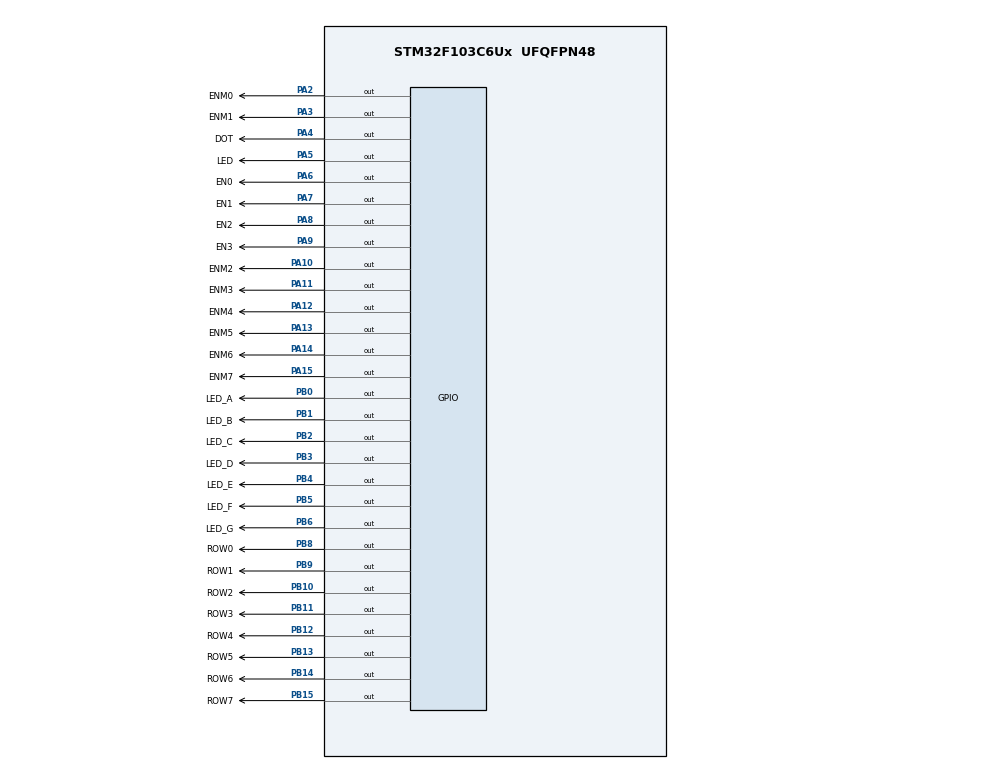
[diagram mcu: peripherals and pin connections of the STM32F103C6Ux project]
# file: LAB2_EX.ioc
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Mcu.Family=STM32F1
Mcu.Name=STM32F103C6Ux
Mcu.Package=UFQFPN48
NVIC.PriorityGroup=NVIC_PRIORITYGROUP_4
NVIC.TIM2_IRQn=true\:0\:0\:false\:false\:true\:true\:true
PA10.GPIO_Label=ENM2
PA10.Signal=GPIO_Output
PA11.GPIO_Label=ENM3
PA11.Signal=GPIO_Output
PA12.GPIO_Label=ENM4
PA12.Signal=GPIO_Output
PA13.GPIO_Label=ENM5
PA13.Signal=GPIO_Output
PA14.GPIO_Label=ENM6
PA14.Signal=GPIO_Output
PA15.GPIO_Label=ENM7
PA15.Signal=GPIO_Output
PA2.GPIO_Label=ENM0
PA2.Signal=GPIO_Output
PA3.GPIO_Label=ENM1
PA3.Signal=GPIO_Output
PA4.GPIO_Label=DOT
PA4.Signal=GPIO_Output
PA5.GPIO_Label=LED
PA5.Signal=GPIO_Output
PA6.GPIO_Label=EN0
PA6.Signal=GPIO_Output
PA7.GPIO_Label=EN1
PA7.Signal=GPIO_Output
PA8.GPIO_Label=EN2
PA8.Signal=GPIO_Output
PA9.GPIO_Label=EN3
PA9.Signal=GPIO_Output
PB0.GPIO_Label=LED_A
PB0.Signal=GPIO_Output
PB1.GPIO_Label=LED_B
PB1.Signal=GPIO_Output
PB10.GPIO_Label=ROW2
PB10.Signal=GPIO_Output
PB11.GPIO_Label=ROW3
PB11.Signal=GPIO_Output
PB12.GPIO_Label=ROW4
PB12.Signal=GPIO_Output
PB13.GPIO_Label=ROW5
PB13.Signal=GPIO_Output
PB14.GPIO_Label=ROW6
PB14.Signal=GPIO_Output
PB15.GPIO_Label=ROW7
PB15.Signal=GPIO_Output
PB2.GPIO_Label=LED_C
PB2.Signal=GPIO_Output
PB3.GPIO_Label=LED_D
PB3.Signal=GPIO_Output
PB4.GPIO_Label=LED_E
PB4.Signal=GPIO_Output
PB5.GPIO_Label=LED_F
PB5.Signal=GPIO_Output
PB6.GPIO_Label=LED_G
PB6.Signal=GPIO_Output
PB8.GPIO_Label=ROW0
PB8.Signal=GPIO_Output
PB9.GPIO_Label=ROW1
PB9.Signal=GPIO_Output
ProjectManager.HeapSize=0x200
ProjectManager.StackSize=0x400
ProjectManager.TargetToolchain=STM32CubeIDE
RCC.APB1Freq_Value=8000000
RCC.APB2Freq_Value=8000000
TIM2.Period=9
TIM2.Prescaler=7999
VP_SYS_VS_ND.Mode=No_Debug
VP_TIM2_VS_ClockSourceINT.Mode=Internal
board=custom

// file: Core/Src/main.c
/* USER CODE BEGIN Header */
/**
  ******************************************************************************
  * @file           : main.c
  * @brief          : Main program body
  ******************************************************************************
  * @attention
  *
  * <h2><center>&copy; Copyright (c) 2023 STMicroelectronics.
  * All rights reserved.</center></h2>
  *
  * This software component is licensed by ST under BSD 3-Clause license,
  * the "License"; You may not use this file except in compliance with the
  * License. You may obtain a copy of the License at:
  *                        opensource.org/licenses/BSD-3-Clause
  *
  ******************************************************************************
  */
/* USER CODE END Header */
#include "main.h"

/* USER CODE BEGIN Includes */
#include "software_timer.h"
/* USER CODE END Includes */

TIM_HandleTypeDef htim2;

void SystemClock_Config(void);
static void MX_GPIO_Init(void);
static void MX_TIM2_Init(void);

/* USER CODE BEGIN 0 */
void display7SEG(int num){
	switch(num){
	case 0:
		HAL_GPIO_WritePin(LED_A_GPIO_Port, LED_A_Pin, RESET);
		HAL_GPIO_WritePin(LED_B_GPIO_Port, LED_B_Pin, RESET);
		HAL_GPIO_WritePin(LED_C_GPIO_Port, LED_C_Pin, RESET);
		HAL_GPIO_WritePin(LED_D_GPIO_Port, LED_D_Pin, RESET);
		HAL_GPIO_WritePin(LED_E_GPIO_Port, LED_E_Pin, RESET);
		HAL_GPIO_WritePin(LED_F_GPIO_Port, LED_F_Pin, RESET);
		HAL_GPIO_WritePin(LED_G_GPIO_Port, LED_G_Pin, SET);
		break;
	case 1:
		HAL_GPIO_WritePin(LED_A_GPIO_Port, LED_A_Pin, SET);
		HAL_GPIO_WritePin(LED_B_GPIO_Port, LED_B_Pin, RESET);
		HAL_GPIO_WritePin(LED_C_GPIO_Port, LED_C_Pin, RESET);
		HAL_GPIO_WritePin(LED_D_GPIO_Port, LED_D_Pin, SET);
		HAL_GPIO_WritePin(LED_E_GPIO_Port, LED_E_Pin, SET);
		HAL_GPIO_WritePin(LED_F_GPIO_Port, LED_F_Pin, SET);
		HAL_GPIO_WritePin(LED_G_GPIO_Port, LED_G_Pin, SET);
		break;
	case 2:
		HAL_GPIO_WritePin(LED_A_GPIO_Port, LED_A_Pin, RESET);
		HAL_GPIO_WritePin(LED_B_GPIO_Port, LED_B_Pin, RESET);
		HAL_GPIO_WritePin(LED_C_GPIO_Port, LED_C_Pin, SET);
		HAL_GPIO_WritePin(LED_D_GPIO_Port, LED_D_Pin, RESET);
		HAL_GPIO_WritePin(LED_E_GPIO_Port, LED_E_Pin, RESET);
		HAL_GPIO_WritePin(LED_F_GPIO_Port, LED_F_Pin, SET);
		HAL_GPIO_WritePin(LED_G_GPIO_Port, LED_G_Pin, RESET);
		break;
	case 3:
		HAL_GPIO_WritePin(LED_A_GPIO_Port, LED_A_Pin, RESET);
		HAL_GPIO_WritePin(LED_B_GPIO_Port, LED_B_Pin, RESET);
		HAL_GPIO_WritePin(LED_C_GPIO_Port, LED_C_Pin, RESET);
		HAL_GPIO_WritePin(LED_D_GPIO_Port, LED_D_Pin, RESET);
		HAL_GPIO_WritePin(LED_E_GPIO_Port, LED_E_Pin, SET);
		HAL_GPIO_WritePin(LED_F_GPIO_Port, LED_F_Pin, SET);
		HAL_GPIO_WritePin(LED_G_GPIO_Port, LED_G_Pin, RESET);
		break;
	case 4:
		HAL_GPIO_WritePin(LED_A_GPIO_Port, LED_A_Pin, SET);
		HAL_GPIO_WritePin(LED_B_GPIO_Port, LED_B_Pin, RESET);
		HAL_GPIO_WritePin(LED_C_GPIO_Port, LED_C_Pin, RESET);
		HAL_GPIO_WritePin(LED_D_GPIO_Port, LED_D_Pin, SET);
		HAL_GPIO_WritePin(LED_E_GPIO_Port, LED_E_Pin, SET);
		HAL_GPIO_WritePin(LED_F_GPIO_Port, LED_F_Pin, RESET);
		HAL_GPIO_WritePin(LED_G_GPIO_Port, LED_G_Pin, RESET);
		break;
	case 5:
		HAL_GPIO_WritePin(LED_A_GPIO_Port, LED_A_Pin, RESET);
		HAL_GPIO_WritePin(LED_B_GPIO_Port, LED_B_Pin, SET);
		HAL_GPIO_WritePin(LED_C_GPIO_Port, LED_C_Pin, RESET);
		HAL_GPIO_WritePin(LED_D_GPIO_Port, LED_D_Pin, RESET);
		HAL_GPIO_WritePin(LED_E_GPIO_Port, LED_E_Pin, SET);
		HAL_GPIO_WritePin(LED_F_GPIO_Port, LED_F_Pin, RESET);
		HAL_GPIO_WritePin(LED_G_GPIO_Port, LED_G_Pin, RESET);
		break;
	case 6:
		HAL_GPIO_WritePin(LED_A_GPIO_Port, LED_A_Pin, RESET);
		HAL_GPIO_WritePin(LED_B_GPIO_Port, LED_B_Pin, SET);
		HAL_GPIO_WritePin(LED_C_GPIO_Port, LED_C_Pin, RESET);
		HAL_GPIO_WritePin(LED_D_GPIO_Port, LED_D_Pin, RESET);
		HAL_GPIO_WritePin(LED_E_GPIO_Port, LED_E_Pin, RESET);
		HAL_GPIO_WritePin(LED_F_GPIO_Port, LED_F_Pin, RESET);
		HAL_GPIO_WritePin(LED_G_GPIO_Port, LED_G_Pin, RESET);
		break;
	case 7:
		HAL_GPIO_WritePin(LED_A_GPIO_Port, LED_A_Pin, RESET);
		HAL_GPIO_WritePin(LED_B_GPIO_Port, LED_B_Pin, RESET);
		HAL_GPIO_WritePin(LED_C_GPIO_Port, LED_C_Pin, RESET);
		HAL_GPIO_WritePin(LED_D_GPIO_Port, LED_D_Pin, SET);
		HAL_GPIO_WritePin(LED_E_GPIO_Port, LED_E_Pin, SET);
		HAL_GPIO_WritePin(LED_F_GPIO_Port, LED_F_Pin, SET);
		HAL_GPIO_WritePin(LED_G_GPIO_Port, LED_G_Pin, SET);
		break;
	case 8:
		HAL_GPIO_WritePin(LED_A_GPIO_Port, LED_A_Pin, RESET);
		HAL_GPIO_WritePin(LED_B_GPIO_Port, LED_B_Pin, RESET);
		HAL_GPIO_WritePin(LED_C_GPIO_Port, LED_C_Pin, RESET);
		HAL_GPIO_WritePin(LED_D_GPIO_Port, LED_D_Pin, RESET);
		HAL_GPIO_WritePin(LED_E_GPIO_Port, LED_E_Pin, RESET);
		HAL_GPIO_WritePin(LED_F_GPIO_Port, LED_F_Pin, RESET);
		HAL_GPIO_WritePin(LED_G_GPIO_Port, LED_G_Pin, RESET);
		break;
	case 9:
		HAL_GPIO_WritePin(LED_A_GPIO_Port, LED_A_Pin, RESET);
		HAL_GPIO_WritePin(LED_B_GPIO_Port, LED_B_Pin, RESET);
		HAL_GPIO_WritePin(LED_C_GPIO_Port, LED_C_Pin, RESET);
		HAL_GPIO_WritePin(LED_D_GPIO_Port, LED_D_Pin, RESET);
		HAL_GPIO_WritePin(LED_E_GPIO_Port, LED_E_Pin, SET);
		HAL_GPIO_WritePin(LED_F_GPIO_Port, LED_F_Pin, RESET);
		HAL_GPIO_WritePin(LED_G_GPIO_Port, LED_G_Pin, RESET);
		break;
	default:
		break;
	}
}

const int MAX_LED = 4;
int index_led = 0;
int led_buffer[4] = {1, 2, 3, 4};
void update7SEG(int index){
	display7SEG(led_buffer[index]);
	switch(index){
	case 0:
		// Display the first 7 SEG with led_buffer [0]
		HAL_GPIO_WritePin(EN0_GPIO_Port, EN0_Pin, RESET);
		HAL_GPIO_WritePin(EN1_GPIO_Port, EN1_Pin, SET);
		HAL_GPIO_WritePin(EN2_GPIO_Port, EN2_Pin, SET);
		HAL_GPIO_WritePin(EN3_GPIO_Port, EN3_Pin, SET);
		break;
	case 1:
		// Display the first 7 SEG with led_buffer [1]
		HAL_GPIO_WritePin(EN0_GPIO_Port, EN0_Pin, SET);
		HAL_GPIO_WritePin(EN1_GPIO_Port, EN1_Pin, RESET);
		HAL_GPIO_WritePin(EN2_GPIO_Port, EN2_Pin, SET);
		HAL_GPIO_WritePin(EN3_GPIO_Port, EN3_Pin, SET);
		break;
	case 2:
		HAL_GPIO_WritePin(EN0_GPIO_Port, EN0_Pin, SET);
		HAL_GPIO_WritePin(EN1_GPIO_Port, EN1_Pin, SET);
		HAL_GPIO_WritePin(EN2_GPIO_Port, EN2_Pin, RESET);
		HAL_GPIO_WritePin(EN3_GPIO_Port, EN3_Pin, SET);
		break;
	case 3:
		HAL_GPIO_WritePin(EN0_GPIO_Port, EN0_Pin, SET);
		HAL_GPIO_WritePin(EN1_GPIO_Port, EN1_Pin, SET);
		HAL_GPIO_WritePin(EN2_GPIO_Port, EN2_Pin, SET);
		HAL_GPIO_WritePin(EN3_GPIO_Port, EN3_Pin, RESET);
		break;
	default: break;
	}
}
void updateClockBuffer(int hour, int minute){
	led_buffer[0] = hour / 10;
 	led_buffer[1] = hour % 10;
	led_buffer[2] = minute/10;
	led_buffer[3] = minute % 10;
}

const int MAX_LED_MATRIX = 8;
uint16_t ROW_PIN[8] =  {ROW0_Pin, ROW1_Pin, ROW2_Pin, ROW3_Pin,
						ROW4_Pin, ROW5_Pin, ROW6_Pin, ROW7_Pin};
int index_led_matrix = 0;
uint8_t matrix_buffer[8] = {0x07, 0xcb, 0xcd, 0xce, 0xce, 0xcd, 0xcb, 0x07};
					//0		1		1	  1	   	0	  0		1	  1		1
					//1		1		1	  0		1	  1		0	  1		1
					//2		1		0	  1		1	  1		1	  0		1
					//3		0		1	  1		1     1		1  	  1		0
					//4		0		0	  0		0	  0		0	  0		0
					//5		0		0	  0		0	  0		0	  0		0
					//6		0		1	  1		1	  1		1	  1		0
					//7		0		1  	  1		1     1		1	  1		0

void updateLEDMatrix(int index){
	HAL_GPIO_WritePin(ENM0_GPIO_Port, ENM0_Pin, SET);
	HAL_GPIO_WritePin(ENM1_GPIO_Port, ENM1_Pin, SET);
	HAL_GPIO_WritePin(ENM2_GPIO_Port, ENM2_Pin, SET);
	HAL_GPIO_WritePin(ENM3_GPIO_Port, ENM3_Pin, SET);
	HAL_GPIO_WritePin(ENM4_GPIO_Port, ENM4_Pin, SET);
	HAL_GPIO_WritePin(ENM5_GPIO_Port, ENM5_Pin, SET);
	HAL_GPIO_WritePin(ENM6_GPIO_Port, ENM6_Pin, SET);
	HAL_GPIO_WritePin(ENM7_GPIO_Port, ENM7_Pin, SET);
	switch(index){
	case 0:
		//turn on col 0
		HAL_GPIO_WritePin(ENM0_GPIO_Port, ENM0_Pin, RESET);
		break;
	case 1:
		//turn on col 1
		HAL_GPIO_WritePin(ENM1_GPIO_Port, ENM1_Pin, RESET);
		break;
	case 2:
		//turn on col 2
		HAL_GPIO_WritePin(ENM2_GPIO_Port, ENM2_Pin, RESET);
		break;
	case 3:
		//turn on col 3
		HAL_GPIO_WritePin(ENM3_GPIO_Port, ENM3_Pin, RESET);
		break;
	case 4:
		//turn on col 4
		HAL_GPIO_WritePin(ENM4_GPIO_Port, ENM4_Pin, RESET);
		break;
	case 5:
		//turn on col 5
		HAL_GPIO_WritePin(ENM5_GPIO_Port, ENM5_Pin, RESET);
		break;
	case 6:
		//turn on col 6
		HAL_GPIO_WritePin(ENM6_GPIO_Port, ENM6_Pin, RESET);
		break;
	case 7:
		//turn on col 7
		HAL_GPIO_WritePin(ENM7_GPIO_Port, ENM7_Pin, RESET);
		break;
	default: break;
	}
	uint8_t tem = matrix_buffer[index];
	for(uint8_t i = 0; i < MAX_LED_MATRIX; i++){
		if(tem % 2){// LSB of tem is 0
			HAL_GPIO_WritePin(GPIOB, ROW_PIN[i], SET);
		}else{		// LSB of tem is 1
			HAL_GPIO_WritePin(GPIOB, ROW_PIN[i], RESET);
		}
		tem >>= 1;
	}
}
/* USER CODE END 0 */

int main(void)
{

  /* MCU Configuration--------------------------------------------------------*/

  /* Reset of all peripherals, Initializes the Flash interface and the Systick. */
  HAL_Init();

  /* Configure the system clock */
  SystemClock_Config();

  /* Initialize all configured peripherals */
  MX_GPIO_Init();
  MX_TIM2_Init();
  /* USER CODE BEGIN 2 */
  HAL_TIM_Base_Start_IT(&htim2);
  /* USER CODE END 2 */

  /* Infinite loop */
  /* USER CODE BEGIN WHILE */
  int hour = 15, minute = 8, second = 50;
  setTimer1(3);
  setTimer2(2);
  setTimer3(5);
  while (1)
  {
	  if(timer1_flag == 1){
		  	setTimer1(100);
			second ++;
			if(second >= 60){
			  second = 0;
			  minute ++;
			}
			if(minute >= 60){
			  minute = 0;
			  hour ++;
			}
			if(hour >= 24){
			  hour = 0;
			}
			updateClockBuffer(hour, minute);
			HAL_GPIO_TogglePin(DOT_GPIO_Port, DOT_Pin);
	  }
	  if(timer2_flag == 1){
		  setTimer2(50);
		  update7SEG(index_led);
		  index_led = (index_led + 1) % MAX_LED;
	  }
	  if(timer3_flag == 1){
		  setTimer3(50);
		  updateLEDMatrix(index_led_matrix);
		  index_led_matrix = (index_led_matrix + 1) % 8;
	  }

    /* USER CODE END WHILE */

  }
}

void SystemClock_Config(void)
{
  RCC_OscInitTypeDef RCC_OscInitStruct = {0};
  RCC_ClkInitTypeDef RCC_ClkInitStruct = {0};

  /** Initializes the RCC Oscillators according to the specified parameters
  * in the RCC_OscInitTypeDef structure.
  */
  RCC_OscInitStruct.OscillatorType = RCC_OSCILLATORTYPE_HSI;
  RCC_OscInitStruct.HSIState = RCC_HSI_ON;
  RCC_OscInitStruct.HSICalibrationValue = RCC_HSICALIBRATION_DEFAULT;
  RCC_OscInitStruct.PLL.PLLState = RCC_PLL_NONE;
  if (HAL_RCC_OscConfig(&RCC_OscInitStruct) != HAL_OK)
  {
    Error_Handler();
  }
  /** Initializes the CPU, AHB and APB buses clocks
  */
  RCC_ClkInitStruct.ClockType = RCC_CLOCKTYPE_HCLK|RCC_CLOCKTYPE_SYSCLK
                              |RCC_CLOCKTYPE_PCLK1|RCC_CLOCKTYPE_PCLK2;
  RCC_ClkInitStruct.SYSCLKSource = RCC_SYSCLKSOURCE_HSI;
  RCC_ClkInitStruct.AHBCLKDivider = RCC_SYSCLK_DIV1;
  RCC_ClkInitStruct.APB1CLKDivider = RCC_HCLK_DIV1;
  RCC_ClkInitStruct.APB2CLKDivider = RCC_HCLK_DIV1;

  if (HAL_RCC_ClockConfig(&RCC_ClkInitStruct, FLASH_LATENCY_0) != HAL_OK)
  {
    Error_Handler();
  }
}

static void MX_TIM2_Init(void)
{

  TIM_ClockConfigTypeDef sClockSourceConfig = {0};
  TIM_MasterConfigTypeDef sMasterConfig = {0};

  htim2.Instance = TIM2;
  htim2.Init.Prescaler = 7999;
  htim2.Init.CounterMode = TIM_COUNTERMODE_UP;
  htim2.Init.Period = 9;
  htim2.Init.ClockDivision = TIM_CLOCKDIVISION_DIV1;
  htim2.Init.AutoReloadPreload = TIM_AUTORELOAD_PRELOAD_DISABLE;
  if (HAL_TIM_Base_Init(&htim2) != HAL_OK)
  {
    Error_Handler();
  }
  sClockSourceConfig.ClockSource = TIM_CLOCKSOURCE_INTERNAL;
  if (HAL_TIM_ConfigClockSource(&htim2, &sClockSourceConfig) != HAL_OK)
  {
    Error_Handler();
  }
  sMasterConfig.MasterOutputTrigger = TIM_TRGO_RESET;
  sMasterConfig.MasterSlaveMode = TIM_MASTERSLAVEMODE_DISABLE;
  if (HAL_TIMEx_MasterConfigSynchronization(&htim2, &sMasterConfig) != HAL_OK)
  {
    Error_Handler();
  }

}

static void MX_GPIO_Init(void)
{
  GPIO_InitTypeDef GPIO_InitStruct = {0};

  /* GPIO Ports Clock Enable */
  __HAL_RCC_GPIOA_CLK_ENABLE();
  __HAL_RCC_GPIOB_CLK_ENABLE();

  /*Configure GPIO pin Output Level */
  HAL_GPIO_WritePin(GPIOA, ENM0_Pin|ENM1_Pin|DOT_Pin|LED_Pin
                          |EN0_Pin|EN1_Pin|EN2_Pin|EN3_Pin
                          |ENM2_Pin|ENM3_Pin|ENM4_Pin|ENM5_Pin
                          |ENM6_Pin|ENM7_Pin, GPIO_PIN_RESET);

  /*Configure GPIO pin Output Level */
  HAL_GPIO_WritePin(GPIOB, LED_A_Pin|LED_B_Pin|LED_C_Pin|ROW2_Pin
                          |ROW3_Pin|ROW4_Pin|ROW5_Pin|ROW6_Pin
                          |ROW7_Pin|LED_D_Pin|LED_E_Pin|LED_F_Pin
                          |LED_G_Pin|ROW0_Pin|ROW1_Pin, GPIO_PIN_RESET);

  /*Configure GPIO pins : ENM0_Pin ENM1_Pin DOT_Pin LED_Pin
                           EN0_Pin EN1_Pin EN2_Pin EN3_Pin
                           ENM2_Pin ENM3_Pin ENM4_Pin ENM5_Pin
                           ENM6_Pin ENM7_Pin */
  GPIO_InitStruct.Pin = ENM0_Pin|ENM1_Pin|DOT_Pin|LED_Pin
                          |EN0_Pin|EN1_Pin|EN2_Pin|EN3_Pin
                          |ENM2_Pin|ENM3_Pin|ENM4_Pin|ENM5_Pin
                          |ENM6_Pin|ENM7_Pin;
  GPIO_InitStruct.Mode = GPIO_MODE_OUTPUT_PP;
  GPIO_InitStruct.Pull = GPIO_NOPULL;
  GPIO_InitStruct.Speed = GPIO_SPEED_FREQ_LOW;
  HAL_GPIO_Init(GPIOA, &GPIO_InitStruct);

  /*Configure GPIO pins : LED_A_Pin LED_B_Pin LED_C_Pin ROW2_Pin
                           ROW3_Pin ROW4_Pin ROW5_Pin ROW6_Pin
                           ROW7_Pin LED_D_Pin LED_E_Pin LED_F_Pin
                           LED_G_Pin ROW0_Pin ROW1_Pin */
  GPIO_InitStruct.Pin = LED_A_Pin|LED_B_Pin|LED_C_Pin|ROW2_Pin
                          |ROW3_Pin|ROW4_Pin|ROW5_Pin|ROW6_Pin
                          |ROW7_Pin|LED_D_Pin|LED_E_Pin|LED_F_Pin
                          |LED_G_Pin|ROW0_Pin|ROW1_Pin;
  GPIO_InitStruct.Mode = GPIO_MODE_OUTPUT_PP;
  GPIO_InitStruct.Pull = GPIO_NOPULL;
  GPIO_InitStruct.Speed = GPIO_SPEED_FREQ_LOW;
  HAL_GPIO_Init(GPIOB, &GPIO_InitStruct);

}

/* USER CODE BEGIN 4 */

void HAL_TIM_PeriodElapsedCallback(TIM_HandleTypeDef *htim){
	timerRun();
}
/* USER CODE END 4 */

void Error_Handler(void)
{
  __disable_irq();
  while (1)
  {
  }
}

/************************ (C) COPYRIGHT STMicroelectronics *****END OF FILE****/
